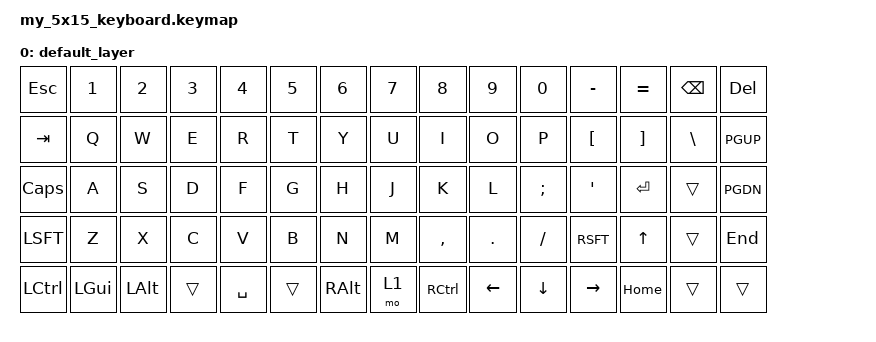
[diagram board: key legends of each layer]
/ {
    keymap {
        compatible = "zmk,keymap";

        default_layer {
            bindings = <
                &kp ESC   &kp 1     &kp 2     &kp 3     &kp 4     &kp 5     &kp 6     &kp 7     &kp 8     &kp 9     &kp 0     &kp MINUS &kp EQUAL &kp BSPC  &kp DEL
                &kp TAB   &kp Q     &kp W     &kp E     &kp R     &kp T     &kp Y     &kp U     &kp I     &kp O     &kp P     &kp LBKT  &kp RBKT  &kp BSLH  &kp PGUP
                &kp CAPS  &kp A     &kp S     &kp D     &kp F     &kp G     &kp H     &kp J     &kp K     &kp L     &kp SEMI  &kp SQT   &kp RET   &trans    &kp PGDN
                &kp LSFT  &kp Z     &kp X     &kp C     &kp V     &kp B     &kp N     &kp M     &kp COMMA &kp DOT   &kp FSLH  &kp RSFT  &kp UP    &trans    &kp END
                &kp LCTL  &kp LGUI  &kp LALT  &trans    &kp SPC   &trans    &kp RALT  &mo 1     &kp RCTL  &kp LEFT  &kp DOWN  &kp RIGHT &kp HOME  &trans    &trans
            >;
        };
    };
};
